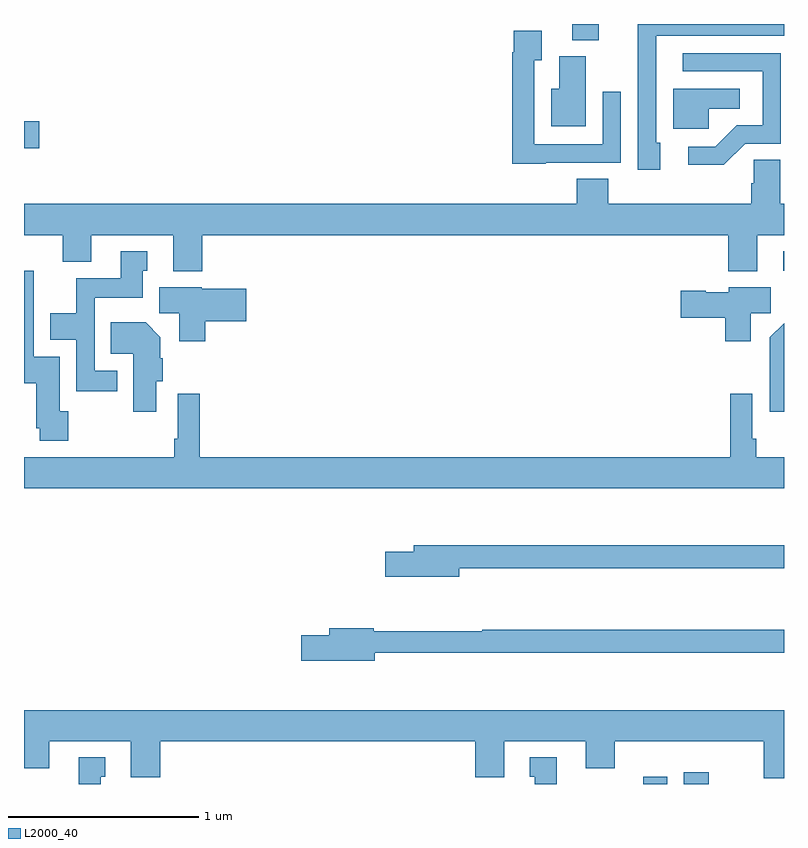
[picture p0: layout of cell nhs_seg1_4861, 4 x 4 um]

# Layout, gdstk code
import gdstk
lib = gdstk.Library(unit=1e-6, precision=1e-09)
def R(c, l, rs):  # rectangles x0, y0, x1, y1
    for r in rs: c.add(gdstk.rectangle(r[:2], r[2:], *l))
def P(c, l, *ps):  # polygons
    for p in ps: c.add(gdstk.Polygon(p, *l))
L2000_40 = (2000, 40)

nhs_seg1_4861 = lib.new_cell('nhs_seg1_4861')
R(nhs_seg1_4861, L2000_40, [(378.26,526.199,378.385,526.237), (378.473,526.199,378.604,526.261), (378.995,528.9,379,529.003), (375,529.546,375.079,529.688), (377.885,530.113,378.025,530.199)])
P(nhs_seg1_4861, L2000_40, [(378.349,529.575),(378.327,529.575),(378.327,530.136),(379,530.136),(379,530.199),(378.23,530.199),(378.23,529.93),(378.231,529.93),(378.231,529.431),(378.349,529.431)],
  [(377.745,529.47),(378.141,529.47),(378.141,529.843),(378.045,529.843),(378.045,529.566),(377.685,529.566),(377.685,530.008),(377.725,530.008),(377.725,530.164),(377.577,530.164),(377.577,530.051),(377.569,530.051),(377.569,529.463),(377.745,529.463)],
  [(378.795,529.569),(378.984,529.569),(378.984,530.046),(378.468,530.046),(378.468,529.95),(378.888,529.95),(378.888,529.665),(378.75,529.665),(378.639,529.554),(378.495,529.554),(378.495,529.457),(378.682,529.457)],
  [(377.956,530.028),(377.816,530.028),(377.816,529.858),(377.774,529.858),(377.774,529.661),(377.956,529.661)],
  [(378.603,529.754),(378.766,529.754),(378.766,529.858),(378.416,529.858),(378.416,529.647),(378.603,529.647)],
  [(375,529.088),(375.203,529.088),(375.203,528.947),(375.355,528.947),(375.355,529.088),(375.785,529.088),(375.785,528.899),(375.938,528.899),(375.938,529.088),(378.707,529.088),(378.707,528.899),(378.859,528.899),(378.859,529.088),(379,529.088),(379,529.252),(378.979,529.252),(378.979,529.484),(378.84,529.484),(378.84,529.361),(378.827,529.361),(378.827,529.252),(378.074,529.252),(378.074,529.385),(377.909,529.385),(377.909,529.252),(375,529.252)],
  [(375.49,528.375),(375.372,528.375),(375.372,528.758),(375.625,528.758),(375.625,528.9),(375.649,528.9),(375.649,529.003),(375.509,529.003),(375.509,528.862),(375.274,528.862),(375.274,528.676),(375.137,528.676),(375.137,528.536),(375.276,528.536),(375.276,528.267),(375.49,528.267)],
  [(375.234,528.162),(375.187,528.162),(375.187,528.448),(375.052,528.448),(375.052,528.901),(375,528.901),(375,528.309),(375.065,528.309),(375.065,528.072),(375.082,528.072),(375.082,528.006),(375.234,528.006)],
  [(375.953,528.635),(376.171,528.635),(376.171,528.805),(375.936,528.805),(375.936,528.814),(375.713,528.814),(375.713,528.676),(375.818,528.676),(375.818,528.528),(375.953,528.528)],
  [(378.826,528.676),(378.931,528.676),(378.931,528.814),(378.708,528.814),(378.708,528.787),(378.588,528.787),(378.588,528.795),(378.456,528.795),(378.456,528.653),(378.692,528.653),(378.692,528.528),(378.826,528.528)],
  [(375.697,528.318),(375.731,528.318),(375.731,528.44),(375.718,528.44),(375.718,528.55),(375.64,528.628),(375.457,528.628),(375.457,528.464),(375.575,528.464),(375.575,528.159),(375.697,528.159)],
  [(379,528.624),(378.926,528.55),(378.926,528.159),(379,528.159)],
  [(379,527.92),(378.854,527.92),(378.854,528.016),(378.834,528.016),(378.834,528.253),(378.718,528.253),(378.718,527.92),(375.926,527.92),(375.926,528.253),(375.81,528.253),(375.81,528.016),(375.79,528.016),(375.79,527.92),(375,527.92),(375,527.756),(379,527.756)],
  [(377.29,527.334),(379,527.334),(379,527.455),(377.051,527.455),(377.051,527.421),(376.902,527.421),(376.902,527.291),(377.29,527.291)],
  [(376.846,526.89),(379,526.89),(379,527.011),(377.411,527.011),(377.411,527.003),(376.842,527.003),(376.842,527.018),(376.607,527.018),(376.607,526.982),(376.458,526.982),(376.458,526.847),(376.846,526.847)],
  [(379,526.588),(375,526.588),(375,526.283),(375.133,526.283),(375.133,526.424),(375.563,526.424),(375.563,526.235),(375.716,526.235),(375.716,526.424),(377.375,526.424),(377.375,526.235),(377.527,526.235),(377.527,526.424),(377.957,526.424),(377.957,526.283),(378.11,526.283),(378.11,526.424),(378.893,526.424),(378.893,526.23),(379,526.23)],
  [(377.803,526.339),(377.663,526.339),(377.663,526.236),(377.687,526.236),(377.687,526.199),(377.803,526.199)],
  [(375.403,526.236),(375.427,526.236),(375.427,526.339),(375.287,526.339),(375.287,526.199),(375.403,526.199)])

lib.write_gds('nhs_seg1_4861.gds')
